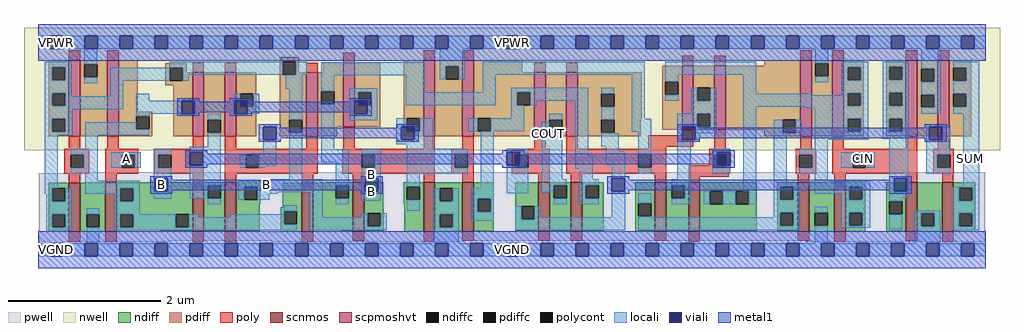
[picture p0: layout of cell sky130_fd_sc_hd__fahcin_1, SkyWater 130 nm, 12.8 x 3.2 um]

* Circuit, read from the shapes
.subckt sky130_fd_sc_hd__fahcin_1 A B CIN VGND VNB VPB VPWR COUT SUM
XM1 VGND n1 n2 VNB sky130_fd_pr__nfet_01v8 w=0.64 l=0.15
XM2 n1 A VGND VNB sky130_fd_pr__nfet_01v8 w=0.65 l=0.15
XM3 n3 B n1 VNB sky130_fd_pr__nfet_01v8 w=0.64 l=0.15
XM4 n2 n4 n3 VNB sky130_fd_pr__nfet_01v8 w=0.64 l=0.15
XM5 n5 n4 n1 VNB sky130_fd_pr__nfet_01v8 w=0.64 l=0.15
XM6 n2 B n5 VNB sky130_fd_pr__nfet_01v8 w=0.64 l=0.15
XM7 VGND B n4 VNB sky130_fd_pr__nfet_01v8 w=0.65 l=0.15
XM8 n6 n4 VGND VNB sky130_fd_pr__nfet_01v8 w=0.64 l=0.15
XM9 COUT n3 n7 VNB sky130_fd_pr__nfet_01v8 w=0.64 l=0.15
XM10 n6 n5 COUT VNB sky130_fd_pr__nfet_01v8 w=0.64 l=0.15
XM11 n8 n5 n9 VNB sky130_fd_pr__nfet_01v8 w=0.64 l=0.15
XM12 n10 n3 n8 VNB sky130_fd_pr__nfet_01v8 w=0.64 l=0.15
XM13 VGND n10 n9 VNB sky130_fd_pr__nfet_01v8 w=0.64 l=0.15
XM14 n10 CIN VGND VNB sky130_fd_pr__nfet_01v8 w=0.65 l=0.15
XM15 VGND CIN n7 VNB sky130_fd_pr__nfet_01v8 w=0.64 l=0.15
XM16 SUM n8 VGND VNB sky130_fd_pr__nfet_01v8 w=0.65 l=0.15
XM17 VPWR n1 n2 VPB sky130_fd_pr__pfet_01v8_hvt w=1 l=0.15
XM18 n1 A VPWR VPB sky130_fd_pr__pfet_01v8_hvt w=1 l=0.15
XM19 n3 B n2 VPB sky130_fd_pr__pfet_01v8_hvt w=0.84 l=0.15
XM20 n1 n4 n3 VPB sky130_fd_pr__pfet_01v8_hvt w=0.84 l=0.15
XM21 n5 n4 n2 VPB sky130_fd_pr__pfet_01v8_hvt w=0.84 l=0.15
XM22 n1 B n5 VPB sky130_fd_pr__pfet_01v8_hvt w=0.84 l=0.15
XM23 VPWR B n4 VPB sky130_fd_pr__pfet_01v8_hvt w=1 l=0.15
XM24 n6 n4 VPWR VPB sky130_fd_pr__pfet_01v8_hvt w=1 l=0.15
XM25 COUT n3 n6 VPB sky130_fd_pr__pfet_01v8_hvt w=0.84 l=0.15
XM26 n7 n5 COUT VPB sky130_fd_pr__pfet_01v8_hvt w=0.84 l=0.15
XM27 n8 n5 n10 VPB sky130_fd_pr__pfet_01v8_hvt w=0.84 l=0.15
XM28 n9 n3 n8 VPB sky130_fd_pr__pfet_01v8_hvt w=0.84 l=0.15
XM29 VPWR n10 n9 VPB sky130_fd_pr__pfet_01v8_hvt w=1 l=0.15
XM30 n10 CIN VPWR VPB sky130_fd_pr__pfet_01v8_hvt w=1 l=0.15
XM31 VPWR CIN n7 VPB sky130_fd_pr__pfet_01v8_hvt w=1 l=0.15
XM32 SUM n8 VPWR VPB sky130_fd_pr__pfet_01v8_hvt w=1 l=0.15
.ends

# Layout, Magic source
magic
tech sky130A
magscale 1 2
<< nwell >>
rect -38 261 2522 582
<< pwell >>
rect 99 201 2483 203
rect 1 23 2483 201
rect 1 21 344 23
rect 610 21 1116 23
rect 2011 21 2483 23
rect 29 -17 63 21
<< scnmos >>
rect 80 47 110 175
rect 175 47 205 177
rect 404 49 434 177
rect 489 49 519 177
rect 691 47 721 175
rect 824 49 854 177
rect 1010 47 1040 177
rect 1112 49 1142 177
rect 1311 49 1341 177
rect 1396 49 1426 177
rect 1617 49 1647 177
rect 1705 49 1735 177
rect 1992 49 2022 177
rect 2087 47 2117 177
rect 2275 49 2305 177
rect 2370 47 2400 177
<< scpmoshvt >>
rect 80 297 110 497
rect 180 297 210 497
rect 404 297 434 465
rect 489 297 519 465
rect 702 297 732 465
rect 799 322 829 490
rect 1010 297 1040 497
rect 1112 297 1142 497
rect 1300 297 1330 465
rect 1384 297 1414 465
rect 1688 315 1718 483
rect 1772 315 1802 483
rect 1998 297 2028 497
rect 2082 297 2112 497
rect 2275 297 2305 497
rect 2359 297 2389 497
<< ndiff >>
rect 125 175 175 177
rect 27 161 80 175
rect 27 127 36 161
rect 70 127 80 161
rect 27 93 80 127
rect 27 59 36 93
rect 70 59 80 93
rect 27 47 80 59
rect 110 93 175 175
rect 110 59 126 93
rect 160 59 175 93
rect 110 47 175 59
rect 205 161 404 177
rect 205 127 215 161
rect 249 127 404 161
rect 205 93 404 127
rect 205 59 215 93
rect 249 59 360 93
rect 394 59 404 93
rect 205 49 404 59
rect 434 169 489 177
rect 434 135 444 169
rect 478 135 489 169
rect 434 49 489 135
rect 519 165 582 177
rect 758 175 824 177
rect 519 131 540 165
rect 574 131 582 165
rect 519 120 582 131
rect 519 49 581 120
rect 641 112 691 175
rect 636 101 691 112
rect 636 67 644 101
rect 678 67 691 101
rect 205 47 318 49
rect 636 47 691 67
rect 721 169 824 175
rect 721 135 780 169
rect 814 135 824 169
rect 721 49 824 135
rect 854 106 904 177
rect 958 165 1010 177
rect 958 131 966 165
rect 1000 131 1010 165
rect 958 121 1010 131
rect 959 120 1010 121
rect 854 105 905 106
rect 854 95 906 105
rect 854 61 864 95
rect 898 61 906 95
rect 854 49 906 61
rect 721 47 793 49
rect 960 47 1010 120
rect 1040 161 1112 177
rect 1040 127 1052 161
rect 1086 127 1112 161
rect 1040 93 1112 127
rect 1040 59 1052 93
rect 1086 59 1112 93
rect 1040 49 1112 59
rect 1142 133 1194 177
rect 1142 99 1152 133
rect 1186 99 1194 133
rect 1142 49 1194 99
rect 1251 114 1311 177
rect 1251 80 1267 114
rect 1301 80 1311 114
rect 1251 49 1311 80
rect 1341 169 1396 177
rect 1341 135 1351 169
rect 1385 135 1396 169
rect 1341 49 1396 135
rect 1426 169 1482 177
rect 1426 135 1436 169
rect 1470 135 1482 169
rect 1426 49 1482 135
rect 1565 122 1617 177
rect 1565 88 1573 122
rect 1607 88 1617 122
rect 1565 49 1617 88
rect 1647 169 1705 177
rect 1647 135 1661 169
rect 1695 135 1705 169
rect 1647 49 1705 135
rect 1735 153 1884 177
rect 1735 119 1761 153
rect 1795 119 1829 153
rect 1863 119 1884 153
rect 1735 49 1884 119
rect 1938 165 1992 177
rect 1938 131 1946 165
rect 1980 131 1992 165
rect 1938 97 1992 131
rect 1938 63 1946 97
rect 1980 63 1992 97
rect 1938 49 1992 63
rect 2022 97 2087 177
rect 2022 63 2036 97
rect 2070 63 2087 97
rect 2022 49 2087 63
rect 1040 47 1090 49
rect 2037 47 2087 49
rect 2117 165 2169 177
rect 2117 131 2127 165
rect 2161 131 2169 165
rect 2117 97 2169 131
rect 2117 63 2127 97
rect 2161 63 2169 97
rect 2117 47 2169 63
rect 2223 127 2275 177
rect 2223 93 2231 127
rect 2265 93 2275 127
rect 2223 49 2275 93
rect 2305 95 2370 177
rect 2305 61 2315 95
rect 2349 61 2370 95
rect 2305 49 2370 61
rect 2320 47 2370 49
rect 2400 163 2457 177
rect 2400 129 2415 163
rect 2449 129 2457 163
rect 2400 95 2457 129
rect 2400 61 2415 95
rect 2449 61 2457 95
rect 2400 47 2457 61
<< pdiff >>
rect 27 479 80 497
rect 27 445 36 479
rect 70 445 80 479
rect 27 411 80 445
rect 27 377 36 411
rect 70 377 80 411
rect 27 343 80 377
rect 27 309 36 343
rect 70 309 80 343
rect 27 297 80 309
rect 110 486 180 497
rect 110 452 120 486
rect 154 452 180 486
rect 110 297 180 452
rect 210 362 260 497
rect 633 493 683 505
rect 332 477 389 489
rect 332 443 344 477
rect 378 465 389 477
rect 378 443 404 465
rect 332 431 404 443
rect 210 350 298 362
rect 210 316 256 350
rect 290 316 298 350
rect 210 297 298 316
rect 354 297 404 431
rect 434 341 489 465
rect 434 307 444 341
rect 478 307 489 341
rect 434 297 489 307
rect 519 409 571 465
rect 519 375 529 409
rect 563 375 571 409
rect 519 297 571 375
rect 633 459 641 493
rect 675 465 683 493
rect 747 465 799 490
rect 675 459 702 465
rect 633 341 702 459
rect 633 307 658 341
rect 692 307 702 341
rect 633 297 702 307
rect 732 415 799 465
rect 732 381 742 415
rect 776 381 799 415
rect 732 322 799 381
rect 829 413 896 490
rect 829 379 839 413
rect 873 379 896 413
rect 829 322 896 379
rect 958 345 1010 497
rect 732 297 784 322
rect 958 311 966 345
rect 1000 311 1010 345
rect 958 297 1010 311
rect 1040 481 1112 497
rect 1040 447 1068 481
rect 1102 447 1112 481
rect 1040 297 1112 447
rect 1142 465 1269 497
rect 1904 483 1998 497
rect 1142 413 1300 465
rect 1142 379 1256 413
rect 1290 379 1300 413
rect 1142 345 1300 379
rect 1142 311 1152 345
rect 1186 311 1300 345
rect 1142 297 1300 311
rect 1330 341 1384 465
rect 1330 307 1340 341
rect 1374 307 1384 341
rect 1330 297 1384 307
rect 1414 409 1582 465
rect 1414 375 1476 409
rect 1510 375 1582 409
rect 1414 343 1582 375
rect 1636 441 1688 483
rect 1636 407 1644 441
rect 1678 407 1688 441
rect 1414 341 1580 343
rect 1414 307 1476 341
rect 1510 307 1580 341
rect 1636 315 1688 407
rect 1718 425 1772 483
rect 1718 391 1728 425
rect 1762 391 1772 425
rect 1718 357 1772 391
rect 1718 323 1728 357
rect 1762 323 1772 357
rect 1718 315 1772 323
rect 1802 341 1998 483
rect 1802 315 1952 341
rect 1414 297 1580 307
rect 1904 307 1952 315
rect 1986 307 1998 341
rect 1904 297 1998 307
rect 2028 489 2082 497
rect 2028 455 2038 489
rect 2072 455 2082 489
rect 2028 297 2082 455
rect 2112 479 2165 497
rect 2112 445 2123 479
rect 2157 445 2165 479
rect 2112 411 2165 445
rect 2112 377 2123 411
rect 2157 377 2165 411
rect 2112 343 2165 377
rect 2112 309 2123 343
rect 2157 309 2165 343
rect 2112 297 2165 309
rect 2223 480 2275 497
rect 2223 446 2231 480
rect 2265 446 2275 480
rect 2223 412 2275 446
rect 2223 378 2231 412
rect 2265 378 2275 412
rect 2223 344 2275 378
rect 2223 310 2231 344
rect 2265 310 2275 344
rect 2223 297 2275 310
rect 2305 475 2359 497
rect 2305 441 2315 475
rect 2349 441 2359 475
rect 2305 407 2359 441
rect 2305 373 2315 407
rect 2349 373 2359 407
rect 2305 297 2359 373
rect 2389 477 2446 497
rect 2389 443 2400 477
rect 2434 443 2446 477
rect 2389 409 2446 443
rect 2389 375 2400 409
rect 2434 375 2446 409
rect 2389 297 2446 375
<< ndiffc >>
rect 36 127 70 161
rect 36 59 70 93
rect 126 59 160 93
rect 215 127 249 161
rect 215 59 249 93
rect 360 59 394 93
rect 444 135 478 169
rect 540 131 574 165
rect 644 67 678 101
rect 780 135 814 169
rect 966 131 1000 165
rect 864 61 898 95
rect 1052 127 1086 161
rect 1052 59 1086 93
rect 1152 99 1186 133
rect 1267 80 1301 114
rect 1351 135 1385 169
rect 1436 135 1470 169
rect 1573 88 1607 122
rect 1661 135 1695 169
rect 1761 119 1795 153
rect 1829 119 1863 153
rect 1946 131 1980 165
rect 1946 63 1980 97
rect 2036 63 2070 97
rect 2127 131 2161 165
rect 2127 63 2161 97
rect 2231 93 2265 127
rect 2315 61 2349 95
rect 2415 129 2449 163
rect 2415 61 2449 95
<< pdiffc >>
rect 36 445 70 479
rect 36 377 70 411
rect 36 309 70 343
rect 120 452 154 486
rect 344 443 378 477
rect 256 316 290 350
rect 444 307 478 341
rect 529 375 563 409
rect 641 459 675 493
rect 658 307 692 341
rect 742 381 776 415
rect 839 379 873 413
rect 966 311 1000 345
rect 1068 447 1102 481
rect 1256 379 1290 413
rect 1152 311 1186 345
rect 1340 307 1374 341
rect 1476 375 1510 409
rect 1644 407 1678 441
rect 1476 307 1510 341
rect 1728 391 1762 425
rect 1728 323 1762 357
rect 1952 307 1986 341
rect 2038 455 2072 489
rect 2123 445 2157 479
rect 2123 377 2157 411
rect 2123 309 2157 343
rect 2231 446 2265 480
rect 2231 378 2265 412
rect 2231 310 2265 344
rect 2315 441 2349 475
rect 2315 373 2349 407
rect 2400 443 2434 477
rect 2400 375 2434 409
<< poly >>
rect 80 497 110 523
rect 180 497 210 523
rect 404 465 434 491
rect 489 465 519 491
rect 702 465 732 491
rect 799 490 829 516
rect 1010 497 1040 523
rect 1112 497 1142 523
rect 80 265 110 297
rect 180 265 210 297
rect 404 265 434 297
rect 67 249 133 265
rect 67 215 85 249
rect 119 215 133 249
rect 67 199 133 215
rect 175 249 262 265
rect 175 215 218 249
rect 252 215 262 249
rect 175 199 262 215
rect 304 249 434 265
rect 304 215 314 249
rect 348 215 434 249
rect 304 199 434 215
rect 80 175 110 199
rect 175 177 205 199
rect 404 177 434 199
rect 489 265 519 297
rect 702 265 732 297
rect 799 265 829 322
rect 1300 465 1330 491
rect 1384 465 1414 491
rect 1688 483 1718 509
rect 1772 483 1802 509
rect 1998 497 2028 523
rect 2082 497 2112 523
rect 2275 497 2305 523
rect 2359 497 2389 523
rect 1688 300 1718 315
rect 1010 265 1040 297
rect 1112 265 1142 297
rect 1300 265 1330 297
rect 1384 265 1414 297
rect 1599 270 1718 300
rect 1599 265 1647 270
rect 1772 265 1802 315
rect 1998 265 2028 297
rect 2082 265 2112 297
rect 2275 265 2305 297
rect 2359 265 2389 297
rect 489 249 732 265
rect 489 215 544 249
rect 578 215 732 249
rect 489 199 732 215
rect 797 249 1040 265
rect 797 215 848 249
rect 882 215 1040 249
rect 797 199 1040 215
rect 1082 249 1142 265
rect 1082 215 1092 249
rect 1126 215 1142 249
rect 1082 199 1142 215
rect 1241 249 1341 265
rect 1241 215 1251 249
rect 1285 215 1341 249
rect 1241 199 1341 215
rect 1384 249 1647 265
rect 1384 215 1573 249
rect 1607 215 1647 249
rect 1760 249 1814 265
rect 1760 222 1770 249
rect 1384 199 1647 215
rect 489 177 519 199
rect 691 175 721 199
rect 824 177 854 199
rect 1010 177 1040 199
rect 1112 177 1142 199
rect 1311 177 1341 199
rect 1396 177 1426 199
rect 1617 177 1647 199
rect 1705 215 1770 222
rect 1804 215 1814 249
rect 1705 199 1814 215
rect 1986 249 2040 265
rect 1986 215 1996 249
rect 2030 215 2040 249
rect 1986 199 2040 215
rect 2082 249 2305 265
rect 2082 215 2136 249
rect 2170 215 2305 249
rect 2082 199 2305 215
rect 2347 249 2401 265
rect 2347 215 2357 249
rect 2391 215 2401 249
rect 2347 199 2401 215
rect 1705 192 1811 199
rect 1705 177 1735 192
rect 1992 177 2022 199
rect 2087 177 2117 199
rect 2275 177 2305 199
rect 2370 177 2400 199
rect 80 21 110 47
rect 175 21 205 47
rect 404 21 434 49
rect 489 21 519 49
rect 691 21 721 47
rect 824 23 854 49
rect 1010 21 1040 47
rect 1112 23 1142 49
rect 1311 23 1341 49
rect 1396 23 1426 49
rect 1617 23 1647 49
rect 1705 21 1735 49
rect 1992 23 2022 49
rect 2087 21 2117 47
rect 2275 23 2305 49
rect 2370 21 2400 47
<< polycont >>
rect 85 215 119 249
rect 218 215 252 249
rect 314 215 348 249
rect 544 215 578 249
rect 848 215 882 249
rect 1092 215 1126 249
rect 1251 215 1285 249
rect 1573 215 1607 249
rect 1770 215 1804 249
rect 1996 215 2030 249
rect 2136 215 2170 249
rect 2357 215 2391 249
<< locali >>
rect 0 527 29 561
rect 63 527 121 561
rect 155 527 213 561
rect 247 527 305 561
rect 339 527 397 561
rect 431 527 489 561
rect 523 527 581 561
rect 615 527 673 561
rect 707 527 765 561
rect 799 527 857 561
rect 891 527 949 561
rect 983 527 1041 561
rect 1075 527 1133 561
rect 1167 527 1225 561
rect 1259 527 1317 561
rect 1351 527 1409 561
rect 1443 527 1501 561
rect 1535 527 1593 561
rect 1627 527 1685 561
rect 1719 527 1777 561
rect 1811 527 1869 561
rect 1903 527 1961 561
rect 1995 527 2053 561
rect 2087 527 2145 561
rect 2179 527 2237 561
rect 2271 527 2329 561
rect 2363 527 2421 561
rect 2455 527 2484 561
rect 17 479 86 493
rect 17 445 36 479
rect 70 445 86 479
rect 17 411 86 445
rect 120 486 154 527
rect 343 477 641 493
rect 120 436 154 452
rect 188 443 344 477
rect 378 459 641 477
rect 675 459 703 493
rect 378 443 394 459
rect 17 377 36 411
rect 70 402 86 411
rect 188 402 222 443
rect 649 422 692 459
rect 70 377 222 402
rect 17 368 222 377
rect 256 391 290 409
rect 513 391 529 409
rect 17 343 88 368
rect 17 309 36 343
rect 70 309 88 343
rect 256 357 376 391
rect 513 357 514 391
rect 563 375 579 409
rect 548 357 579 375
rect 256 350 290 357
rect 17 300 88 309
rect 122 316 256 334
rect 122 300 290 316
rect 444 341 478 357
rect 658 341 692 422
rect 17 161 51 300
rect 122 265 156 300
rect 444 270 478 307
rect 85 249 156 265
rect 119 215 156 249
rect 190 249 268 255
rect 190 215 218 249
rect 252 215 268 249
rect 302 249 348 265
rect 302 215 314 249
rect 85 199 156 215
rect 122 181 156 199
rect 302 187 348 215
rect 122 161 265 181
rect 17 147 36 161
rect 20 127 36 147
rect 70 127 86 161
rect 122 147 215 161
rect 20 93 86 127
rect 199 127 215 147
rect 249 127 265 161
rect 302 153 305 187
rect 339 153 348 187
rect 302 133 348 153
rect 397 255 478 270
rect 431 221 478 255
rect 590 253 624 289
rect 560 249 624 253
rect 397 169 478 221
rect 528 215 544 249
rect 578 219 624 249
rect 578 215 594 219
rect 658 185 692 307
rect 742 458 1013 492
rect 742 415 776 458
rect 742 264 776 381
rect 816 413 889 424
rect 816 391 839 413
rect 816 357 828 391
rect 873 379 889 413
rect 963 413 1013 458
rect 1052 481 1118 527
rect 1052 447 1068 481
rect 1102 447 1118 481
rect 1165 459 1590 493
rect 1165 413 1199 459
rect 963 379 1199 413
rect 1240 413 1442 425
rect 1240 379 1256 413
rect 1290 391 1442 413
rect 1290 379 1306 391
rect 862 357 889 379
rect 816 339 889 357
rect 1240 345 1274 379
rect 938 323 966 345
rect 938 289 952 323
rect 1000 311 1034 345
rect 1127 311 1152 345
rect 1186 311 1274 345
rect 1340 341 1374 357
rect 986 289 1034 311
rect 938 277 1034 289
rect 966 265 1034 277
rect 742 230 814 264
rect 611 181 746 185
rect 397 135 444 169
rect 20 59 36 93
rect 70 59 86 93
rect 20 51 86 59
rect 126 93 160 109
rect 126 17 160 59
rect 199 93 265 127
rect 444 119 478 135
rect 524 165 746 181
rect 524 131 540 165
rect 574 151 746 165
rect 574 147 627 151
rect 574 131 605 147
rect 643 101 678 117
rect 643 93 644 101
rect 199 59 215 93
rect 249 59 360 93
rect 394 85 420 93
rect 503 85 644 93
rect 394 67 644 85
rect 394 59 678 67
rect 199 51 678 59
rect 712 85 746 151
rect 780 169 814 230
rect 780 119 814 135
rect 848 249 898 265
rect 882 215 898 249
rect 848 187 898 215
rect 848 153 857 187
rect 891 153 898 187
rect 848 129 898 153
rect 966 249 1126 265
rect 966 215 1092 249
rect 966 199 1126 215
rect 966 165 1000 199
rect 1160 163 1194 311
rect 1320 307 1340 335
rect 966 102 1000 131
rect 1036 127 1052 161
rect 1086 127 1102 161
rect 848 85 864 95
rect 712 61 864 85
rect 898 61 914 95
rect 712 51 914 61
rect 1036 93 1102 127
rect 1036 59 1052 93
rect 1086 59 1102 93
rect 1136 133 1194 163
rect 1228 255 1285 265
rect 1262 249 1285 255
rect 1228 215 1251 221
rect 1228 148 1285 215
rect 1320 185 1374 307
rect 1408 246 1442 391
rect 1476 409 1510 425
rect 1476 341 1510 375
rect 1556 344 1590 459
rect 1644 459 1882 493
rect 1644 441 1678 459
rect 1644 391 1678 407
rect 1712 391 1728 425
rect 1762 391 1778 425
rect 1712 357 1778 391
rect 1556 310 1607 344
rect 1476 306 1510 307
rect 1476 272 1522 306
rect 1488 258 1522 272
rect 1408 212 1454 246
rect 1488 221 1539 258
rect 1420 185 1454 212
rect 1504 187 1539 221
rect 1573 249 1607 310
rect 1573 199 1607 215
rect 1675 323 1728 357
rect 1762 323 1778 357
rect 1675 289 1688 323
rect 1722 306 1778 323
rect 1848 409 1882 459
rect 2038 489 2072 527
rect 2038 439 2072 455
rect 2107 479 2177 493
rect 2107 445 2123 479
rect 2157 445 2177 479
rect 2107 411 2177 445
rect 1848 408 2021 409
rect 1848 407 2024 408
rect 1848 406 2026 407
rect 1848 405 2029 406
rect 2107 405 2123 411
rect 1848 377 2123 405
rect 2157 377 2177 411
rect 1848 375 2177 377
rect 1722 289 1734 306
rect 1320 169 1385 185
rect 1320 151 1351 169
rect 1136 99 1152 133
rect 1186 99 1194 133
rect 1351 119 1385 135
rect 1420 169 1470 185
rect 1420 135 1436 169
rect 1420 119 1470 135
rect 1538 153 1539 187
rect 1675 185 1711 289
rect 1767 255 1814 265
rect 1767 249 1780 255
rect 1767 215 1770 249
rect 1804 215 1814 221
rect 1767 199 1814 215
rect 1136 76 1194 99
rect 1251 80 1267 114
rect 1301 85 1317 114
rect 1504 85 1539 153
rect 1661 169 1711 185
rect 1301 80 1539 85
rect 1036 17 1102 59
rect 1251 51 1539 80
rect 1573 122 1607 148
rect 1695 135 1711 169
rect 1848 153 1882 375
rect 2011 374 2177 375
rect 2014 373 2177 374
rect 2017 372 2177 373
rect 2020 371 2177 372
rect 2036 343 2177 371
rect 1661 119 1711 135
rect 1745 119 1761 153
rect 1795 119 1829 153
rect 1863 119 1882 153
rect 1928 307 1952 341
rect 1986 307 2002 341
rect 2036 309 2123 343
rect 2157 309 2177 343
rect 1928 165 1962 307
rect 2036 289 2177 309
rect 2215 480 2281 493
rect 2215 446 2231 480
rect 2265 446 2281 480
rect 2215 412 2281 446
rect 2215 378 2231 412
rect 2265 378 2281 412
rect 2215 344 2281 378
rect 2315 475 2366 527
rect 2349 441 2366 475
rect 2315 407 2366 441
rect 2349 373 2366 407
rect 2315 357 2366 373
rect 2400 477 2467 493
rect 2434 443 2467 477
rect 2400 409 2467 443
rect 2434 375 2467 409
rect 2400 357 2467 375
rect 2215 310 2231 344
rect 2265 310 2281 344
rect 2215 291 2281 310
rect 2036 265 2070 289
rect 1996 249 2070 265
rect 2030 215 2070 249
rect 2104 249 2193 255
rect 2104 215 2136 249
rect 2170 215 2193 249
rect 1996 199 2070 215
rect 2036 181 2070 199
rect 2231 187 2281 291
rect 2329 289 2336 323
rect 2370 289 2391 323
rect 2329 249 2391 289
rect 2329 215 2357 249
rect 2329 199 2391 215
rect 2036 165 2182 181
rect 1928 131 1946 165
rect 1980 131 1996 165
rect 2036 147 2127 165
rect 1573 85 1607 88
rect 1928 97 1996 131
rect 2106 131 2127 147
rect 2161 131 2182 165
rect 1928 85 1946 97
rect 1573 63 1946 85
rect 1980 63 1996 97
rect 1573 51 1996 63
rect 2036 97 2070 113
rect 2036 17 2070 63
rect 2106 97 2182 131
rect 2106 63 2127 97
rect 2161 63 2182 97
rect 2106 57 2182 63
rect 2231 153 2244 187
rect 2278 153 2281 187
rect 2425 165 2467 357
rect 2231 136 2281 153
rect 2399 163 2467 165
rect 2231 127 2265 136
rect 2399 129 2415 163
rect 2449 129 2467 163
rect 2231 54 2265 93
rect 2299 95 2365 102
rect 2299 61 2315 95
rect 2349 61 2365 95
rect 2299 17 2365 61
rect 2399 95 2467 129
rect 2399 61 2415 95
rect 2449 61 2467 95
rect 2399 51 2467 61
rect 0 -17 29 17
rect 63 -17 121 17
rect 155 -17 213 17
rect 247 -17 305 17
rect 339 -17 397 17
rect 431 -17 489 17
rect 523 -17 581 17
rect 615 -17 673 17
rect 707 -17 765 17
rect 799 -17 857 17
rect 891 -17 949 17
rect 983 -17 1041 17
rect 1075 -17 1133 17
rect 1167 -17 1225 17
rect 1259 -17 1317 17
rect 1351 -17 1409 17
rect 1443 -17 1501 17
rect 1535 -17 1593 17
rect 1627 -17 1685 17
rect 1719 -17 1777 17
rect 1811 -17 1869 17
rect 1903 -17 1961 17
rect 1995 -17 2053 17
rect 2087 -17 2145 17
rect 2179 -17 2237 17
rect 2271 -17 2329 17
rect 2363 -17 2421 17
rect 2455 -17 2484 17
<< viali >>
rect 29 527 63 561
rect 121 527 155 561
rect 213 527 247 561
rect 305 527 339 561
rect 397 527 431 561
rect 489 527 523 561
rect 581 527 615 561
rect 673 527 707 561
rect 765 527 799 561
rect 857 527 891 561
rect 949 527 983 561
rect 1041 527 1075 561
rect 1133 527 1167 561
rect 1225 527 1259 561
rect 1317 527 1351 561
rect 1409 527 1443 561
rect 1501 527 1535 561
rect 1593 527 1627 561
rect 1685 527 1719 561
rect 1777 527 1811 561
rect 1869 527 1903 561
rect 1961 527 1995 561
rect 2053 527 2087 561
rect 2145 527 2179 561
rect 2237 527 2271 561
rect 2329 527 2363 561
rect 2421 527 2455 561
rect 376 357 410 391
rect 514 375 529 391
rect 529 375 548 391
rect 514 357 548 375
rect 305 153 339 187
rect 397 221 431 255
rect 590 289 624 323
rect 828 379 839 391
rect 839 379 862 391
rect 828 357 862 379
rect 952 311 966 323
rect 966 311 986 323
rect 952 289 986 311
rect 857 153 891 187
rect 1228 249 1262 255
rect 1228 221 1251 249
rect 1251 221 1262 249
rect 1688 289 1722 323
rect 1504 153 1538 187
rect 1780 249 1814 255
rect 1780 221 1804 249
rect 1804 221 1814 249
rect 2336 289 2370 323
rect 2244 153 2278 187
rect 29 -17 63 17
rect 121 -17 155 17
rect 213 -17 247 17
rect 305 -17 339 17
rect 397 -17 431 17
rect 489 -17 523 17
rect 581 -17 615 17
rect 673 -17 707 17
rect 765 -17 799 17
rect 857 -17 891 17
rect 949 -17 983 17
rect 1041 -17 1075 17
rect 1133 -17 1167 17
rect 1225 -17 1259 17
rect 1317 -17 1351 17
rect 1409 -17 1443 17
rect 1501 -17 1535 17
rect 1593 -17 1627 17
rect 1685 -17 1719 17
rect 1777 -17 1811 17
rect 1869 -17 1903 17
rect 1961 -17 1995 17
rect 2053 -17 2087 17
rect 2145 -17 2179 17
rect 2237 -17 2271 17
rect 2329 -17 2363 17
rect 2421 -17 2455 17
<< metal1 >>
rect 0 561 2484 592
rect 0 527 29 561
rect 63 527 121 561
rect 155 527 213 561
rect 247 527 305 561
rect 339 527 397 561
rect 431 527 489 561
rect 523 527 581 561
rect 615 527 673 561
rect 707 527 765 561
rect 799 527 857 561
rect 891 527 949 561
rect 983 527 1041 561
rect 1075 527 1133 561
rect 1167 527 1225 561
rect 1259 527 1317 561
rect 1351 527 1409 561
rect 1443 527 1501 561
rect 1535 527 1593 561
rect 1627 527 1685 561
rect 1719 527 1777 561
rect 1811 527 1869 561
rect 1903 527 1961 561
rect 1995 527 2053 561
rect 2087 527 2145 561
rect 2179 527 2237 561
rect 2271 527 2329 561
rect 2363 527 2421 561
rect 2455 527 2484 561
rect 0 496 2484 527
rect 364 391 422 397
rect 364 357 376 391
rect 410 388 422 391
rect 502 391 560 397
rect 502 388 514 391
rect 410 360 514 388
rect 410 357 422 360
rect 364 351 422 357
rect 502 357 514 360
rect 548 388 560 391
rect 816 391 874 397
rect 816 388 828 391
rect 548 360 828 388
rect 548 357 560 360
rect 502 351 560 357
rect 816 357 828 360
rect 862 357 874 391
rect 816 351 874 357
rect 578 323 636 329
rect 578 289 590 323
rect 624 320 636 323
rect 940 323 998 329
rect 940 320 952 323
rect 624 292 952 320
rect 624 289 636 292
rect 578 283 636 289
rect 940 289 952 292
rect 986 289 998 323
rect 940 283 998 289
rect 1676 323 1734 329
rect 1676 289 1688 323
rect 1722 320 1734 323
rect 2324 323 2382 329
rect 2324 320 2336 323
rect 1722 292 2336 320
rect 1722 289 1734 292
rect 1676 283 1734 289
rect 2324 289 2336 292
rect 2370 289 2382 323
rect 2324 283 2382 289
rect 385 255 443 261
rect 385 221 397 255
rect 431 252 443 255
rect 1216 255 1274 261
rect 1216 252 1228 255
rect 431 224 1228 252
rect 431 221 443 224
rect 385 215 443 221
rect 1216 221 1228 224
rect 1262 252 1274 255
rect 1768 255 1826 261
rect 1768 252 1780 255
rect 1262 224 1780 252
rect 1262 221 1274 224
rect 1216 215 1274 221
rect 1768 221 1780 224
rect 1814 221 1826 255
rect 1768 215 1826 221
rect 293 187 351 193
rect 293 153 305 187
rect 339 184 351 187
rect 845 187 903 193
rect 845 184 857 187
rect 339 156 857 184
rect 339 153 351 156
rect 293 147 351 153
rect 845 153 857 156
rect 891 153 903 187
rect 845 147 903 153
rect 1492 187 1550 193
rect 1492 153 1504 187
rect 1538 184 1550 187
rect 2232 187 2290 193
rect 2232 184 2244 187
rect 1538 156 2244 184
rect 1538 153 1550 156
rect 1492 147 1550 153
rect 2232 153 2244 156
rect 2278 153 2290 187
rect 2232 147 2290 153
rect 0 17 2484 48
rect 0 -17 29 17
rect 63 -17 121 17
rect 155 -17 213 17
rect 247 -17 305 17
rect 339 -17 397 17
rect 431 -17 489 17
rect 523 -17 581 17
rect 615 -17 673 17
rect 707 -17 765 17
rect 799 -17 857 17
rect 891 -17 949 17
rect 983 -17 1041 17
rect 1075 -17 1133 17
rect 1167 -17 1225 17
rect 1259 -17 1317 17
rect 1351 -17 1409 17
rect 1443 -17 1501 17
rect 1535 -17 1593 17
rect 1627 -17 1685 17
rect 1719 -17 1777 17
rect 1811 -17 1869 17
rect 1903 -17 1961 17
rect 1995 -17 2053 17
rect 2087 -17 2145 17
rect 2179 -17 2237 17
rect 2271 -17 2329 17
rect 2363 -17 2421 17
rect 2455 -17 2484 17
rect 0 -48 2484 -17
<< labels >>
flabel locali s 1320 289 1354 323 0 FreeSans 300 0 0 0 COUT
port 8 nsew signal output
flabel locali s 305 153 339 187 0 FreeSans 300 0 0 0 B
port 2 nsew signal input
flabel locali s 213 221 247 255 0 FreeSans 300 180 0 0 A
port 1 nsew signal input
flabel locali s 2428 221 2462 255 0 FreeSans 300 0 0 0 SUM
port 9 nsew signal output
flabel locali s 2148 221 2182 255 0 FreeSans 300 0 0 0 CIN
port 3 nsew signal input
flabel metal1 s 29 527 63 561 0 FreeSans 200 0 0 0 VPWR
port 7 nsew power bidirectional abutment
flabel metal1 s 29 -17 63 17 0 FreeSans 200 0 0 0 VGND
port 4 nsew ground bidirectional abutment
flabel metal1 s 322 170 322 170 0 FreeSans 300 0 0 0 B
flabel pwell s 29 -17 63 17 0 FreeSans 200 0 0 0 VNB
port 5 nsew ground bidirectional
flabel nwell s 29 527 63 561 0 FreeSans 200 0 0 0 VPB
port 6 nsew power bidirectional
rlabel comment s 0 0 0 0 4 fahcin_1
rlabel locali s 848 129 898 265 1 B
port 2 nsew signal input
rlabel metal1 s 845 184 903 193 1 B
port 2 nsew signal input
rlabel metal1 s 845 147 903 156 1 B
port 2 nsew signal input
rlabel metal1 s 293 184 351 193 1 B
port 2 nsew signal input
rlabel metal1 s 293 156 903 184 1 B
port 2 nsew signal input
rlabel metal1 s 293 147 351 156 1 B
port 2 nsew signal input
rlabel metal1 s 0 -48 2484 48 1 VGND
port 4 nsew ground bidirectional abutment
rlabel metal1 s 0 496 2484 592 1 VPWR
port 7 nsew power bidirectional abutment
<< properties >>
string FIXED_BBOX 0 0 2484 544
string GDS_END 2132810
string GDS_FILE $PDKPATH/libs.ref/sky130_fd_sc_hd/gds/sky130_fd_sc_hd.gds
string GDS_START 2113526
string LEFclass CORE
string LEFsite unithd
string LEFsymmetry X Y R90
string path 0.000 13.600 62.100 13.600 
<< end >>
